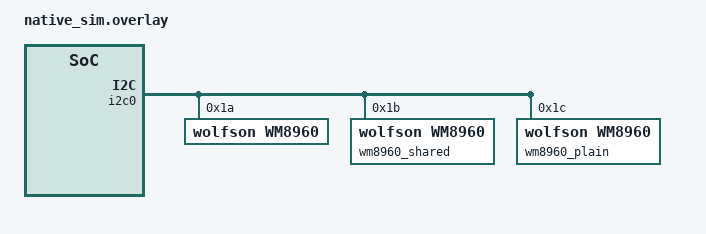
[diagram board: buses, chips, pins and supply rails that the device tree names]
/*
 * Copyright 2026 NXP
 *
 * SPDX-License-Identifier: Apache-2.0
 */

/ {
	#address-cells = <1>;
	#size-cells = <0>;

	aliases {
		wm8960 = &wm8960;
	};

	dummy_clock: dummy_clock {
		compatible = "fixed-clock";
		clock-frequency = <12288000>;
		#clock-cells = <0>;
	};
};

&i2c0 {
	#address-cells = <1>;
	#size-cells = <0>;
	status = "okay";

	wm8960: wm8960@1a {
		compatible = "wolfson,wm8960";
		reg = <0x1a>;
		clocks = <&dummy_clock>;
		hp-jd = "WM8960_JD3";
		clk-out;
		gpio1-sel = "WM8960_SYSCLK_OUT";
		left-input = "WM8960_IN_MIC_DE_13";
		right-input = "WM8960_IN_MIC_DE_12";
		status = "okay";
	};

	/* Shares one frame clock: the ADC must follow DACLRC. */
	wm8960_shared: wm8960@1b {
		compatible = "wolfson,wm8960";
		reg = <0x1b>;
		clocks = <&dummy_clock>;
		shared-lrclk;
		status = "okay";
	};

	/* Separate frame clocks: ALRCGPIO must stay clear. */
	wm8960_plain: wm8960@1c {
		compatible = "wolfson,wm8960";
		reg = <0x1c>;
		clocks = <&dummy_clock>;
		status = "okay";
	};
};
